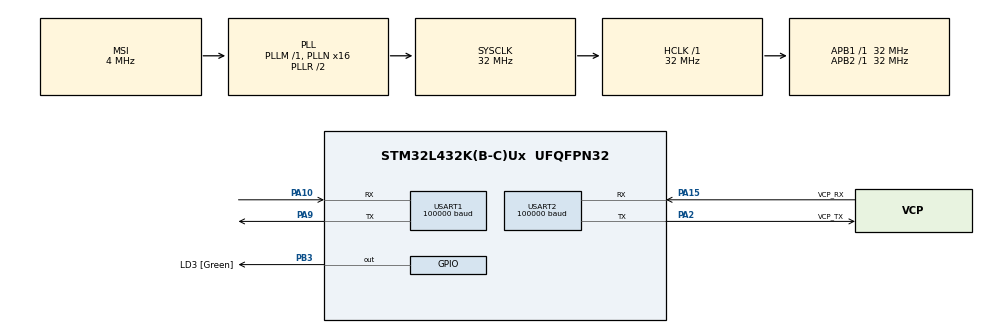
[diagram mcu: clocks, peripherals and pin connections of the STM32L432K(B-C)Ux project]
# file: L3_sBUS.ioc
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Dma.Request0=USART1_RX
Dma.USART1_RX.0.Direction=DMA_PERIPH_TO_MEMORY
Dma.USART1_RX.0.Instance=DMA1_Channel5
Dma.USART1_RX.0.MemDataAlignment=DMA_MDATAALIGN_BYTE
Dma.USART1_RX.0.MemInc=DMA_MINC_ENABLE
Dma.USART1_RX.0.Mode=DMA_NORMAL
Dma.USART1_RX.0.PeriphDataAlignment=DMA_PDATAALIGN_BYTE
Dma.USART1_RX.0.PeriphInc=DMA_PINC_DISABLE
Dma.USART1_RX.0.Priority=DMA_PRIORITY_VERY_HIGH
Mcu.Family=STM32L4
Mcu.Name=STM32L432K(B-C)Ux
Mcu.Package=UFQFPN32
NVIC.DMA1_Channel5_IRQn=true\:0\:0\:false\:false\:true\:false\:true\:true
NVIC.PriorityGroup=NVIC_PRIORITYGROUP_4
NVIC.TIM1_UP_TIM16_IRQn=true\:0\:0\:false\:false\:true\:true\:true\:true
NVIC.USART1_IRQn=true\:0\:0\:false\:false\:true\:true\:true\:true
PA0.GPIO_Label=MCO [High speed clock in]
PA0.Mode=HSE-External-Clock-Source-for-LittleOrca
PA0.Signal=RCC_CK_IN
PA10.Mode=Asynchronous
PA10.Signal=USART1_RX
PA13\ (JTMS-SWDIO).GPIO_Label=SWDIO
PA13\ (JTMS-SWDIO).Mode=Serial_Wire
PA13\ (JTMS-SWDIO).Signal=SYS_JTMS-SWDIO
PA14\ (JTCK-SWCLK).GPIO_Label=SWCLK
PA14\ (JTCK-SWCLK).Mode=Serial_Wire
PA14\ (JTCK-SWCLK).Signal=SYS_JTCK-SWCLK
PA15\ (JTDI).GPIO_Label=VCP_RX
PA15\ (JTDI).Mode=Asynchronous
PA15\ (JTDI).Signal=USART2_RX
PA2.GPIO_Label=VCP_TX
PA2.Mode=Asynchronous
PA2.Signal=USART2_TX
PA9.Mode=Asynchronous
PA9.Signal=USART1_TX
PB3\ (JTDO-TRACESWO).GPIO_Label=LD3 [Green]
PB3\ (JTDO-TRACESWO).Signal=GPIO_Output
PC14-OSC32_IN\ (PC14).Mode=LSE-External-Oscillator
PC14-OSC32_IN\ (PC14).Signal=RCC_OSC32_IN
PC15-OSC32_OUT\ (PC15).Mode=LSE-External-Oscillator
PC15-OSC32_OUT\ (PC15).Signal=RCC_OSC32_OUT
ProjectManager.HeapSize=0x200
ProjectManager.StackSize=0x400
ProjectManager.TargetToolchain=STM32CubeIDE
RCC.AHBFreq_Value=32000000
RCC.APB1Freq_Value=32000000
RCC.APB1TimFreq_Value=32000000
RCC.APB2Freq_Value=32000000
RCC.APB2TimFreq_Value=32000000
RCC.CortexFreq_Value=32000000
RCC.HCLKFreq_Value=32000000
RCC.HSE_VALUE=8000000
RCC.HSI16_VALUE=16000000
RCC.HSI48_VALUE=48000000
RCC.HSI_VALUE=16000000
RCC.MSI_VALUE=4000000
RCC.PLLMUL=RCC_PLLMUL_4
RCC.PLLN=16
RCC.SYSCLKFreq_VALUE=32000000
RCC.SYSCLKSource=RCC_SYSCLKSOURCE_PLLCLK
RCC.VCOOutputFreq_Value=64000000
TIM1.Period=500-1
TIM1.Prescaler=32000-1
USART1.BaudRate=100000
USART1.RxPinLevelInvertParam=ADVFEATURE_RXINV_ENABLE
USART1.VirtualMode-Asynchronous=VM_ASYNC
USART2.BaudRate=100000
USART2.VirtualMode-Asynchronous=VM_ASYNC
VP_TIM1_VS_ClockSourceINT.Mode=Internal
board=NUCLEO-L432KC

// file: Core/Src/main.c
/* USER CODE BEGIN Header */
/**
  ******************************************************************************
  * @file           : main.c
  * @brief          : Main program body
  ******************************************************************************
  * @attention
  *
  * Copyright (c) 2024 STMicroelectronics.
  * All rights reserved.
  *
  * This software is licensed under terms that can be found in the LICENSE file
  * in the root directory of this software component.
  * If no LICENSE file comes with this software, it is provided AS-IS.
  *
  ******************************************************************************
  */

/*
 * Configuration UART
 * - Mode: 					asynchronously
 * - Baud Rate: 			100000
 * - Word Length: 			8 bits
 * - Stop Bits: 			2
 * - Parity: 				Even
 * - Hardware Flow Control: None
 *
 * Receiving sBUS Data
 * - 25 bytes long frame (start byte and a checksum)
 * - start byte (0x0F)
 *
 * Help: (decoding sBUS)
 * - chatgpt: stm32 L4 logic to process the SBUS data
 * - cubeIDE stm32 dont jump into void HAL_UARTEx_RxEventCallback(UART_HandleTypeDef *huart, uint16_t Size)
 */

/* USER CODE END Header */
#include "main.h"

/* USER CODE BEGIN PD */

#define SBUS_FRAME_LENGTH 25
#define SBUS_CHANNEL_COUNT 16
//#define SBUS_START_BYTE 0x0F

/* USER CODE END PD */

TIM_HandleTypeDef htim1;

UART_HandleTypeDef huart1;
UART_HandleTypeDef huart2;
DMA_HandleTypeDef hdma_usart1_rx;

/* USER CODE BEGIN PV */

//transmit variable UART2
uint8_t data_sBusTest[] = "sBUS Test!\r\n";
uint8_t data_sBusOK[] = "sBUS RX OK!\r\n";
uint8_t data_sBusRxOk[] = "sBUS Frame Correct!\r\n";
uint8_t data_sBusRxNok[] = "sBUS Frame NOT Correct!\r\n";
const char *crlf = "\r\n";

//receive variable UART1 (sBUS)
uint8_t sbusBuffer[SBUS_FRAME_LENGTH];
volatile uint8_t sbusDataReady = 0;

//sBUS decode
uint16_t channelValues[SBUS_CHANNEL_COUNT];
/* USER CODE END PV */

void SystemClock_Config(void);
static void MX_GPIO_Init(void);
static void MX_DMA_Init(void);
static void MX_USART2_UART_Init(void);
static void MX_USART1_UART_Init(void);
static void MX_TIM1_Init(void);

/* USER CODE BEGIN 0 */

//function for parsing sBUS data
void parseSBUSData(uint8_t *buffer)
{
    // Check for valid start byte (0x0F)
    if (buffer[0] != 0x0F || buffer[SBUS_FRAME_LENGTH - 1] != 0x00)
    {
        // Invalid frame, return
    	HAL_UART_Transmit(&huart2, data_sBusRxNok, sizeof(data_sBusRxNok), 100);
        return;
    }

    // Valid frame
    HAL_UART_Transmit(&huart2, data_sBusRxOk, sizeof(data_sBusRxOk), 100);

    // Extract channel values
    for (int i = 0; i < SBUS_CHANNEL_COUNT; i++)
    {
        if (i < 8)
        {
            // First 8 channels: use first 16 bytes
            channelValues[i] = (buffer[1 + (i * 2)] & 0x07) | (buffer[2 + (i * 2)] << 3);
        }
        else
        {
            // Next 8 channels: use last 9 bytes
            channelValues[i] = (buffer[2 + ((i - 8) * 2)] >> 5) | ((buffer[3 + ((i - 8) * 2)] & 0xFF) << 3);
        }
    }

    // Process flags (if necessary)
    uint8_t flags = buffer[SBUS_FRAME_LENGTH - 2];
    // Check for failsafe or lost frame conditions
    if (flags & 0x04)
    {
        // Failsafe triggered
    	// Handle failsafe condition
    	// For example, set a flag, log the event, or revert to a safe state
    }
    if (flags & 0x08)
    {
        // Frame lost
    	// Handle frame loss condition
    	// You may want to log this or take action to recover
    }
}

//void HAL_UART_RxCpltCallback(UART_HandleTypeDef *huart)
void HAL_UARTEx_RxEventCallback(UART_HandleTypeDef *huart, uint16_t Size)
{
    if (huart->Instance == USART1)
    {
    	// Process the received data
    	parseSBUSData(sbusBuffer);

        // Restart DMA reception
    	HAL_UARTEx_ReceiveToIdle_DMA(&huart1, sbusBuffer, SBUS_FRAME_LENGTH);

    	HAL_UART_Transmit(&huart2, data_sBusOK, sizeof(data_sBusOK), 100);
    }
}

void HAL_UARTEx_RxEventCallback(UART_HandleTypeDef *huart, uint16_t Size)
{
    if (huart->Instance == USART1)
    {
//        if (Size == SBUS_FRAME_SIZE && sbusBuffer[0] == 0x0F && (sbusBuffer[24] == 0x00 || sbusBuffer[24] == 0x04))
//        {
//            // Decode sBUS channels
//            sbusChannels[0]  = ((sbusBuffer[1]    | sbusBuffer[2]<<8)                       & 0x07FF);
//            sbusChannels[1]  = ((sbusBuffer[2]>>3 | sbusBuffer[3]<<5)                       & 0x07FF);
//            sbusChannels[2]  = ((sbusBuffer[3]>>6 | sbusBuffer[4]<<2 | sbusBuffer[5]<<10)   & 0x07FF);
//            sbusChannels[3]  = ((sbusBuffer[5]>>1 | sbusBuffer[6]<<7)                       & 0x07FF);
//            sbusChannels[4]  = ((sbusBuffer[6]>>4 | sbusBuffer[7]<<4)                       & 0x07FF);
//            sbusChannels[5]  = ((sbusBuffer[7]>>7 | sbusBuffer[8]<<1 | sbusBuffer[9]<<9)    & 0x07FF);
//            sbusChannels[6]  = ((sbusBuffer[9]>>2 | sbusBuffer[10]<<6)                      & 0x07FF);
//            sbusChannels[7]  = ((sbusBuffer[10]>>5| sbusBuffer[11]<<3)                      & 0x07FF);
//            sbusChannels[8]  = ((sbusBuffer[12]   | sbusBuffer[13]<<8)                      & 0x07FF);
//            sbusChannels[9]  = ((sbusBuffer[13]>>3 | sbusBuffer[14]<<5)                    & 0x07FF);
//            sbusChannels[10] = ((sbusBuffer[14]>>6 | sbusBuffer[15]<<2 | sbusBuffer[16]<<10)& 0x07FF);
//            sbusChannels[11] = ((sbusBuffer[16]>>1 | sbusBuffer[17]<<7)                    & 0x07FF);
//            sbusChannels[12] = ((sbusBuffer[17]>>4 | sbusBuffer[18]<<4)                    & 0x07FF);
//            sbusChannels[13] = ((sbusBuffer[18]>>7 | sbusBuffer[19]<<1 | sbusBuffer[20]<<9) & 0x07FF);
//            sbusChannels[14] = ((sbusBuffer[20]>>2 | sbusBuffer[21]<<6)                    & 0x07FF);
//            sbusChannels[15] = ((sbusBuffer[21]>>5 | sbusBuffer[22]<<3)                    & 0x07FF);
//
//            // Process the decoded channels
//            // ...
//        }

        // Restart DMA reception
        HAL_UARTEx_ReceiveToIdle_DMA(&huart1, sbusBuffer, SBUS_FRAME_LENGTH);
    }
}

void HAL_UART_ErrorCallback(UART_HandleTypeDef *huart)
{
    if (huart->Instance == USART1)
    {
        // Handle UART2 errors
        if (huart->ErrorCode & HAL_UART_ERROR_ORE)
        {
            // Overrun Error
        	HAL_UART_Transmit(&huart2, (uint8_t *)"\r\nOverrun Error UART1!", 50, 100);
        }
        if (huart->ErrorCode & HAL_UART_ERROR_FE)
        {
            // Framing Error
        	HAL_UART_Transmit(&huart2, (uint8_t *)"\r\nFraming Error UART1!", 50, 100);
        }
        if (huart->ErrorCode & HAL_UART_ERROR_NE)
        {
            // Noise Error
        	HAL_UART_Transmit(&huart2, (uint8_t *)"\r\nNoise Error UART1!", 50, 100);
        }
        if (huart->ErrorCode & HAL_UART_ERROR_PE)
        {
            // Parity Error
        	HAL_UART_Transmit(&huart2, (uint8_t *)"\r\nParity Error UART1!", 50, 100);
        }

        // Optionally reset the UART
        //HAL_UART_DeInit(huart);
        //HAL_UART_Init(huart);  // Reinitialize if necessary
    }
}

/* USER CODE END 0 */

int main(void)
{

  /* MCU Configuration--------------------------------------------------------*/

  /* Reset of all peripherals, Initializes the Flash interface and the Systick. */
  HAL_Init();

  /* Configure the system clock */
  SystemClock_Config();

  /* Initialize all configured peripherals */
  MX_GPIO_Init();
  MX_DMA_Init();
  MX_USART2_UART_Init();
  MX_USART1_UART_Init();
  MX_TIM1_Init();
  /* USER CODE BEGIN 2 */

  // Start TIM1 in interrupt mode
  HAL_TIM_Base_Start_IT(&htim1);

  // Start UART1 reception with DMA
  HAL_UARTEx_ReceiveToIdle_DMA(&huart1, sbusBuffer, SBUS_FRAME_LENGTH);

  /* USER CODE END 2 */

  /* Infinite loop */
  /* USER CODE BEGIN WHILE */
  while (1)
  {
//	  // Example: Process or use the channel values
//	  for (int i = 0; i < SBUS_CHANNEL_COUNT; i++)
//	  {
//		  // Use channelValues[i] for your application
//		  uint8_t dataToSend[2]; // Array to hold the two bytes of the uint16_t value
//		  dataToSend[0] = (channelValues[i] & 0xFF);          // Lower byte
//		  dataToSend[1] = (channelValues[i] >> 8) & 0xFF;     // Upper byte
//
//		  // Transmit the two bytes
//		  HAL_UART_Transmit(&huart2, dataToSend, sizeof(dataToSend), 10);
//	  }
//
//	  HAL_UART_Transmit(&huart2, (uint8_t *)crlf, 2, HAL_MAX_DELAY);

//	  HAL_Delay(100); // Adjust as necessary

    /* USER CODE END WHILE */

  }
}

void SystemClock_Config(void)
{
  RCC_OscInitTypeDef RCC_OscInitStruct = {0};
  RCC_ClkInitTypeDef RCC_ClkInitStruct = {0};

  /** Configure the main internal regulator output voltage
  */
  if (HAL_PWREx_ControlVoltageScaling(PWR_REGULATOR_VOLTAGE_SCALE1) != HAL_OK)
  {
    Error_Handler();
  }

  /** Configure LSE Drive Capability
  */
  HAL_PWR_EnableBkUpAccess();
  __HAL_RCC_LSEDRIVE_CONFIG(RCC_LSEDRIVE_LOW);

  /** Initializes the RCC Oscillators according to the specified parameters
  * in the RCC_OscInitTypeDef structure.
  */
  RCC_OscInitStruct.OscillatorType = RCC_OSCILLATORTYPE_LSE|RCC_OSCILLATORTYPE_MSI;
  RCC_OscInitStruct.LSEState = RCC_LSE_ON;
  RCC_OscInitStruct.MSIState = RCC_MSI_ON;
  RCC_OscInitStruct.MSICalibrationValue = 0;
  RCC_OscInitStruct.MSIClockRange = RCC_MSIRANGE_6;
  RCC_OscInitStruct.PLL.PLLState = RCC_PLL_ON;
  RCC_OscInitStruct.PLL.PLLSource = RCC_PLLSOURCE_MSI;
  RCC_OscInitStruct.PLL.PLLM = 1;
  RCC_OscInitStruct.PLL.PLLN = 16;
  RCC_OscInitStruct.PLL.PLLP = RCC_PLLP_DIV7;
  RCC_OscInitStruct.PLL.PLLQ = RCC_PLLQ_DIV2;
  RCC_OscInitStruct.PLL.PLLR = RCC_PLLR_DIV2;
  if (HAL_RCC_OscConfig(&RCC_OscInitStruct) != HAL_OK)
  {
    Error_Handler();
  }

  /** Initializes the CPU, AHB and APB buses clocks
  */
  RCC_ClkInitStruct.ClockType = RCC_CLOCKTYPE_HCLK|RCC_CLOCKTYPE_SYSCLK
                              |RCC_CLOCKTYPE_PCLK1|RCC_CLOCKTYPE_PCLK2;
  RCC_ClkInitStruct.SYSCLKSource = RCC_SYSCLKSOURCE_PLLCLK;
  RCC_ClkInitStruct.AHBCLKDivider = RCC_SYSCLK_DIV1;
  RCC_ClkInitStruct.APB1CLKDivider = RCC_HCLK_DIV1;
  RCC_ClkInitStruct.APB2CLKDivider = RCC_HCLK_DIV1;

  if (HAL_RCC_ClockConfig(&RCC_ClkInitStruct, FLASH_LATENCY_1) != HAL_OK)
  {
    Error_Handler();
  }

  /** Enable MSI Auto calibration
  */
  HAL_RCCEx_EnableMSIPLLMode();
}

static void MX_TIM1_Init(void)
{

  TIM_ClockConfigTypeDef sClockSourceConfig = {0};
  TIM_MasterConfigTypeDef sMasterConfig = {0};

  htim1.Instance = TIM1;
  htim1.Init.Prescaler = 32000-1;
  htim1.Init.CounterMode = TIM_COUNTERMODE_UP;
  htim1.Init.Period = 500-1;
  htim1.Init.ClockDivision = TIM_CLOCKDIVISION_DIV1;
  htim1.Init.RepetitionCounter = 0;
  htim1.Init.AutoReloadPreload = TIM_AUTORELOAD_PRELOAD_DISABLE;
  if (HAL_TIM_Base_Init(&htim1) != HAL_OK)
  {
    Error_Handler();
  }
  sClockSourceConfig.ClockSource = TIM_CLOCKSOURCE_INTERNAL;
  if (HAL_TIM_ConfigClockSource(&htim1, &sClockSourceConfig) != HAL_OK)
  {
    Error_Handler();
  }
  sMasterConfig.MasterOutputTrigger = TIM_TRGO_RESET;
  sMasterConfig.MasterOutputTrigger2 = TIM_TRGO2_RESET;
  sMasterConfig.MasterSlaveMode = TIM_MASTERSLAVEMODE_DISABLE;
  if (HAL_TIMEx_MasterConfigSynchronization(&htim1, &sMasterConfig) != HAL_OK)
  {
    Error_Handler();
  }

}

static void MX_USART1_UART_Init(void)
{

  huart1.Instance = USART1;
  huart1.Init.BaudRate = 100000;
  huart1.Init.WordLength = UART_WORDLENGTH_9B;
  huart1.Init.StopBits = UART_STOPBITS_2;
  huart1.Init.Parity = UART_PARITY_EVEN;
  huart1.Init.Mode = UART_MODE_TX_RX;
  huart1.Init.HwFlowCtl = UART_HWCONTROL_NONE;
  huart1.Init.OverSampling = UART_OVERSAMPLING_16;
  huart1.Init.OneBitSampling = UART_ONE_BIT_SAMPLE_DISABLE;
  huart1.AdvancedInit.AdvFeatureInit = UART_ADVFEATURE_RXINVERT_INIT;
  huart1.AdvancedInit.RxPinLevelInvert = UART_ADVFEATURE_RXINV_ENABLE;
  if (HAL_UART_Init(&huart1) != HAL_OK)
  {
    Error_Handler();
  }

}

static void MX_USART2_UART_Init(void)
{

  huart2.Instance = USART2;
  huart2.Init.BaudRate = 115200;
  huart2.Init.WordLength = UART_WORDLENGTH_8B;
  huart2.Init.StopBits = UART_STOPBITS_1;
  huart2.Init.Parity = UART_PARITY_NONE;
  huart2.Init.Mode = UART_MODE_TX_RX;
  huart2.Init.HwFlowCtl = UART_HWCONTROL_NONE;
  huart2.Init.OverSampling = UART_OVERSAMPLING_16;
  huart2.Init.OneBitSampling = UART_ONE_BIT_SAMPLE_DISABLE;
  huart2.AdvancedInit.AdvFeatureInit = UART_ADVFEATURE_NO_INIT;
  if (HAL_UART_Init(&huart2) != HAL_OK)
  {
    Error_Handler();
  }

}

static void MX_DMA_Init(void)
{

  /* DMA controller clock enable */
  __HAL_RCC_DMA1_CLK_ENABLE();

  /* DMA interrupt init */
  /* DMA1_Channel5_IRQn interrupt configuration */
  HAL_NVIC_SetPriority(DMA1_Channel5_IRQn, 0, 0);
  HAL_NVIC_EnableIRQ(DMA1_Channel5_IRQn);

}

static void MX_GPIO_Init(void)
{
  GPIO_InitTypeDef GPIO_InitStruct = {0};

  /* GPIO Ports Clock Enable */
  __HAL_RCC_GPIOC_CLK_ENABLE();
  __HAL_RCC_GPIOA_CLK_ENABLE();
  __HAL_RCC_GPIOB_CLK_ENABLE();

  /*Configure GPIO pin Output Level */
  HAL_GPIO_WritePin(LD3_GPIO_Port, LD3_Pin, GPIO_PIN_RESET);

  /*Configure GPIO pin : LD3_Pin */
  GPIO_InitStruct.Pin = LD3_Pin;
  GPIO_InitStruct.Mode = GPIO_MODE_OUTPUT_PP;
  GPIO_InitStruct.Pull = GPIO_NOPULL;
  GPIO_InitStruct.Speed = GPIO_SPEED_FREQ_LOW;
  HAL_GPIO_Init(LD3_GPIO_Port, &GPIO_InitStruct);

}

/* USER CODE BEGIN 4 */
void HAL_TIM_PeriodElapsedCallback(TIM_HandleTypeDef *htim)
{
    if (htim->Instance == TIM1)
    {
  	  HAL_UART_Transmit(&huart2, data_sBusTest, sizeof(data_sBusTest), 100);
  	  //HAL_UART_ErrorCallback(&huart1);
    }
}
/* USER CODE END 4 */

void Error_Handler(void)
{
  __disable_irq();
  while (1)
  {
  }
}
